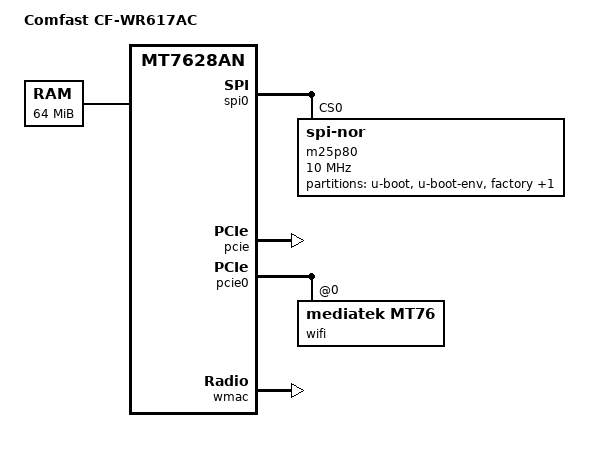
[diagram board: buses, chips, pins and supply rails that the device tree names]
/dts-v1/;

#include "mt7628an.dtsi"

/ {
  compatible = "comfast,cf-wr617ac", "mediatek,mt7628an-soc";
  model = "Comfast CF-WR617AC";

  chosen {
    bootargs = "console=ttyS0,115200";
  };

	memory@0 {
		device_type = "memory";
		reg = <0x0 0x4000000>;
	};
};

&pinctrl {
  state_default: pinctrl0 {
    gpio {
      ralink,group = "i2c";
      ralink,function = "gpio";
    };
  };
};


&spi0 {
	status = "okay";

	m25p80@0 {
		compatible = "jedec,spi-nor";
		reg = <0>;
		spi-max-frequency = <10000000>;

		partitions {
			compatible = "fixed-partitions";
			#address-cells = <1>;
			#size-cells = <1>;

			partition@0 {
				label = "u-boot";
				reg = <0x0 0x30000>;
				read-only;
			};

			ubootenv: partition@30000 {
				label = "u-boot-env";
				reg = <0x30000 0x10000>;
				read-only;
			};

			factory: partition@40000 {
				label = "factory";
				reg = <0x40000 0x10000>;
				read-only;
			};

			partition@50000 {
				compatible = "denx,uimage";
				label = "firmware";
				reg = <0x50000 0x760000>;
			};
		};
	};
};


&pcie {
  status = "okay";
};

&pcie0 {
  wifi@0,0 {
    compatible = "mediatek,mt76";
    reg = <0x0000 0 0 0 0>;
    mediatek,mtd-eeprom = <&factory 0x8000>;
    ieee80211-freq-limit = <5000000 6000000>;
  };
};

&ethernet {
  mtd-mac-address = <&factory 0x4>;
  mtd-mac-address-increment = <(-1)>;
};

&esw {
  mediatek,portmap = <0x2f>;
};

&wmac {
  status = "okay";
};
